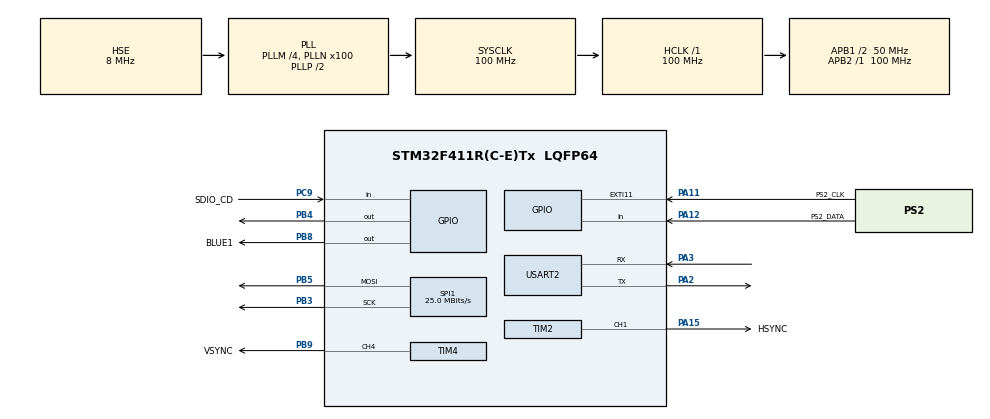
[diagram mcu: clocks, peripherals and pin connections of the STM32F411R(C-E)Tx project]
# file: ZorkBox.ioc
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Dma.Request0=SPI1_TX
Dma.SPI1_TX.0.Direction=DMA_MEMORY_TO_PERIPH
Dma.SPI1_TX.0.FIFOMode=DMA_FIFOMODE_DISABLE
Dma.SPI1_TX.0.Instance=DMA2_Stream2
Dma.SPI1_TX.0.MemDataAlignment=DMA_MDATAALIGN_BYTE
Dma.SPI1_TX.0.MemInc=DMA_MINC_ENABLE
Dma.SPI1_TX.0.Mode=DMA_NORMAL
Dma.SPI1_TX.0.PeriphDataAlignment=DMA_PDATAALIGN_BYTE
Dma.SPI1_TX.0.PeriphInc=DMA_PINC_DISABLE
Dma.SPI1_TX.0.Priority=DMA_PRIORITY_VERY_HIGH
IWDG.Prescaler=IWDG_PRESCALER_256
IWDG.Reload=249
Mcu.Family=STM32F4
Mcu.Name=STM32F411R(C-E)Tx
Mcu.Package=LQFP64
NVIC.DMA2_Stream2_IRQn=true\:5\:0\:true\:false\:true\:false\:true\:true
NVIC.PriorityGroup=NVIC_PRIORITYGROUP_4
NVIC.TIM2_IRQn=true\:0\:0\:false\:false\:true\:true\:true\:true
NVIC.TIM4_IRQn=true\:0\:0\:false\:false\:true\:true\:true\:true
PA11.GPIO_Label=PS2_CLK
PA11.Signal=GPXTI11
PA12.GPIO_Label=PS2_DATA
PA12.Signal=GPIO_Input
PA13.Mode=Serial_Wire
PA13.Signal=SYS_JTMS-SWDIO
PA14.Mode=Serial_Wire
PA14.Signal=SYS_JTCK-SWCLK
PA15.GPIO_Label=HSYNC
PA15.Signal=S_TIM2_CH1_ETR
PA2.Mode=Asynchronous
PA2.Signal=USART2_TX
PA3.Mode=Asynchronous
PA3.Signal=USART2_RX
PB3.Mode=TX_Only_Simplex_Unidirect_Master
PB3.Signal=SPI1_SCK
PB4.Signal=GPIO_Output
PB5.Mode=TX_Only_Simplex_Unidirect_Master
PB5.Signal=SPI1_MOSI
PB8.GPIO_Label=BLUE1
PB8.GPIO_Speed=GPIO_SPEED_FREQ_VERY_HIGH
PB8.Signal=GPIO_Output
PB9.GPIO_Label=VSYNC
PB9.Signal=S_TIM4_CH4
PC9.GPIO_Label=SDIO_CD
PC9.Signal=GPIO_Input
PH0\ -\ OSC_IN.Mode=HSE-External-Oscillator
PH0\ -\ OSC_IN.Signal=RCC_OSC_IN
PH1\ -\ OSC_OUT.Mode=HSE-External-Oscillator
PH1\ -\ OSC_OUT.Signal=RCC_OSC_OUT
ProjectManager.HeapSize=0x200
ProjectManager.StackSize=0x400
ProjectManager.TargetToolchain=STM32CubeIDE
RCC.48MHZClocksFreq_Value=40000000
RCC.AHBFreq_Value=100000000
RCC.APB1CLKDivider=RCC_HCLK_DIV2
RCC.APB1Freq_Value=50000000
RCC.APB1TimFreq_Value=100000000
RCC.APB2Freq_Value=100000000
RCC.APB2TimFreq_Value=100000000
RCC.CortexFreq_Value=100000000
RCC.HCLKFreq_Value=100000000
RCC.HSE_VALUE=8000000
RCC.HSI_VALUE=16000000
RCC.LSE_VALUE=32768
RCC.PLLM=4
RCC.PLLN=100
RCC.PLLQ=5
RCC.PLLSourceVirtual=RCC_PLLSOURCE_HSE
RCC.SYSCLKFreq_VALUE=100000000
RCC.SYSCLKSource=RCC_SYSCLKSOURCE_PLLCLK
RCC.VCOOutputFreq_Value=200000000
SH.S_TIM2_CH1_ETR.0=TIM2_CH1,PWM Generation1 CH1
SH.S_TIM4_CH4.0=TIM4_CH4,PWM Generation4 CH4
SPI1.BaudRatePrescaler=SPI_BAUDRATEPRESCALER_4
SPI1.CalculateBaudRate=25.0 MBits/s
SPI1.DataSize=SPI_DATASIZE_8BIT
SPI1.Direction=SPI_DIRECTION_2LINES
SPI1.Mode=SPI_MODE_MASTER
SPI1.VirtualType=VM_MASTER
TIM2.AutoReloadPreload=TIM_AUTORELOAD_PRELOAD_DISABLE
TIM2.Channel-Output\ Compare2\ No\ Output=TIM_CHANNEL_2
TIM2.Channel-PWM\ Generation1\ CH1=TIM_CHANNEL_1
TIM2.OCPolarity_1=TIM_OCPOLARITY_LOW
TIM2.Period=3199
TIM2.Pulse-Output\ Compare2\ No\ Output=450
TIM2.Pulse-PWM\ Generation1\ CH1=384
TIM2.TIM_MasterOutputTrigger=TIM_TRGO_UPDATE
TIM4.AutoReloadPreload=TIM_AUTORELOAD_PRELOAD_DISABLE
TIM4.Channel-Output\ Compare3\ No\ Output=TIM_CHANNEL_3
TIM4.Channel-PWM\ Generation4\ CH4=TIM_CHANNEL_4
TIM4.OCPolarity_4=TIM_OCPOLARITY_LOW
TIM4.Period=524
TIM4.Pulse-Output\ Compare3\ No\ Output=35
TIM4.Pulse-PWM\ Generation4\ CH4=2
USART2.VirtualMode=VM_ASYNC
VP_IWDG_VS_IWDG.Mode=IWDG_Activate
VP_TIM2_VS_no_output2.Mode=Output Compare2 No Output
VP_TIM4_VS_ClockSourceITR.Mode=TriggerSource_ITR1
VP_TIM4_VS_ControllerModeClock.Mode=Clock Mode
VP_TIM4_VS_no_output3.Mode=Output Compare3 No Output
board=custom

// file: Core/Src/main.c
/* USER CODE BEGIN Header */
/**
  ******************************************************************************
  * @file           : main.c
  * @brief          : Main program body
  ******************************************************************************
  * @attention
  *
  * Copyright (c) 2026 STMicroelectronics.
  * All rights reserved.
  *
  * This software is licensed under terms that can be found in the LICENSE file
  * in the root directory of this software component.
  * If no LICENSE file comes with this software, it is provided AS-IS.
  *
  ******************************************************************************
  */
/* USER CODE END Header */
#include "main.h"

/* USER CODE BEGIN Includes */
#include <stdio.h>
#include <stdint.h>
#include <errno.h>
#include <sys/unistd.h> // STDOUT_FILENO, STDERR_FILENO
#include "ztypes.h"
#include "vga.h"
#include "ps2.h"
/* USER CODE END Includes */

IWDG_HandleTypeDef hiwdg;

SPI_HandleTypeDef hspi1;
DMA_HandleTypeDef hdma_spi1_tx;

TIM_HandleTypeDef htim2;
TIM_HandleTypeDef htim4;

UART_HandleTypeDef huart2;

void SystemClock_Config(void);
static void MX_GPIO_Init(void);
static void MX_DMA_Init(void);
static void MX_USART2_UART_Init(void);
static void MX_TIM2_Init(void);
static void MX_TIM4_Init(void);
static void MX_SPI1_Init(void);
static void MX_IWDG_Init(void);

int main(void)
{

  /* MCU Configuration--------------------------------------------------------*/

  /* Reset of all peripherals, Initializes the Flash interface and the Systick. */
  HAL_Init();

  /* Configure the system clock */
  SystemClock_Config();

  /* Initialize all configured peripherals */
  MX_GPIO_Init();
  MX_DMA_Init();
  MX_USART2_UART_Init();
  MX_TIM2_Init();
  MX_TIM4_Init();
  MX_SPI1_Init();
  MX_IWDG_Init();
  /* USER CODE BEGIN 2 */
  HAL_NVIC_SetPriority(TIM2_IRQn, 0, 0);  // HSYNC (highest)
  HAL_NVIC_SetPriority(DMA2_Stream2_IRQn, 0, 1); // SPI DMA
  HAL_NVIC_SetPriority(TIM4_IRQn, 1, 0);  // VSYNC
  HAL_TIM_PWM_Start(&htim2, TIM_CHANNEL_1);   // HSYNC
  HAL_TIM_PWM_Start(&htim4, TIM_CHANNEL_4);   // VSYNC
  HAL_TIM_OC_Start_IT(&htim2, TIM_CHANNEL_2);
  HAL_TIM_OC_Start_IT(&htim4, TIM_CHANNEL_3);

  /* Infinite loop */
  printf("Start\r\n");

  open_story();
  configure(V1, V8);
  initialize_screen();
  z_restart();
  vga_init();
  /* USER CODE END 2 */

  /* Infinite loop */
  /* USER CODE BEGIN WHILE */
  while (1)
  {
	zork_handle();
	vga_handle();
	HAL_IWDG_Refresh(&hiwdg);
    /* USER CODE END WHILE */

  }
}

void SystemClock_Config(void)
{
  RCC_OscInitTypeDef RCC_OscInitStruct = {0};
  RCC_ClkInitTypeDef RCC_ClkInitStruct = {0};

  /** Configure the main internal regulator output voltage
  */
  __HAL_RCC_PWR_CLK_ENABLE();
  __HAL_PWR_VOLTAGESCALING_CONFIG(PWR_REGULATOR_VOLTAGE_SCALE1);

  /** Initializes the RCC Oscillators according to the specified parameters
  * in the RCC_OscInitTypeDef structure.
  */
  RCC_OscInitStruct.OscillatorType = RCC_OSCILLATORTYPE_LSI|RCC_OSCILLATORTYPE_HSE;
  RCC_OscInitStruct.HSEState = RCC_HSE_ON;
  RCC_OscInitStruct.LSIState = RCC_LSI_ON;
  RCC_OscInitStruct.PLL.PLLState = RCC_PLL_ON;
  RCC_OscInitStruct.PLL.PLLSource = RCC_PLLSOURCE_HSE;
  RCC_OscInitStruct.PLL.PLLM = 4;
  RCC_OscInitStruct.PLL.PLLN = 100;
  RCC_OscInitStruct.PLL.PLLP = RCC_PLLP_DIV2;
  RCC_OscInitStruct.PLL.PLLQ = 5;
  if (HAL_RCC_OscConfig(&RCC_OscInitStruct) != HAL_OK)
  {
    Error_Handler();
  }

  /** Initializes the CPU, AHB and APB buses clocks
  */
  RCC_ClkInitStruct.ClockType = RCC_CLOCKTYPE_HCLK|RCC_CLOCKTYPE_SYSCLK
                              |RCC_CLOCKTYPE_PCLK1|RCC_CLOCKTYPE_PCLK2;
  RCC_ClkInitStruct.SYSCLKSource = RCC_SYSCLKSOURCE_PLLCLK;
  RCC_ClkInitStruct.AHBCLKDivider = RCC_SYSCLK_DIV1;
  RCC_ClkInitStruct.APB1CLKDivider = RCC_HCLK_DIV2;
  RCC_ClkInitStruct.APB2CLKDivider = RCC_HCLK_DIV1;

  if (HAL_RCC_ClockConfig(&RCC_ClkInitStruct, FLASH_LATENCY_3) != HAL_OK)
  {
    Error_Handler();
  }
}

static void MX_IWDG_Init(void)
{

  hiwdg.Instance = IWDG;
  hiwdg.Init.Prescaler = IWDG_PRESCALER_256;
  hiwdg.Init.Reload = 249;
  if (HAL_IWDG_Init(&hiwdg) != HAL_OK)
  {
    Error_Handler();
  }

}

static void MX_SPI1_Init(void)
{

  /* SPI1 parameter configuration*/
  hspi1.Instance = SPI1;
  hspi1.Init.Mode = SPI_MODE_MASTER;
  hspi1.Init.Direction = SPI_DIRECTION_2LINES;
  hspi1.Init.DataSize = SPI_DATASIZE_8BIT;
  hspi1.Init.CLKPolarity = SPI_POLARITY_LOW;
  hspi1.Init.CLKPhase = SPI_PHASE_1EDGE;
  hspi1.Init.NSS = SPI_NSS_SOFT;
  hspi1.Init.BaudRatePrescaler = SPI_BAUDRATEPRESCALER_4;
  hspi1.Init.FirstBit = SPI_FIRSTBIT_MSB;
  hspi1.Init.TIMode = SPI_TIMODE_DISABLE;
  hspi1.Init.CRCCalculation = SPI_CRCCALCULATION_DISABLE;
  hspi1.Init.CRCPolynomial = 10;
  if (HAL_SPI_Init(&hspi1) != HAL_OK)
  {
    Error_Handler();
  }

}

static void MX_TIM2_Init(void)
{

  TIM_MasterConfigTypeDef sMasterConfig = {0};
  TIM_OC_InitTypeDef sConfigOC = {0};

  htim2.Instance = TIM2;
  htim2.Init.Prescaler = 0;
  htim2.Init.CounterMode = TIM_COUNTERMODE_UP;
  htim2.Init.Period = 3199;
  htim2.Init.ClockDivision = TIM_CLOCKDIVISION_DIV1;
  htim2.Init.AutoReloadPreload = TIM_AUTORELOAD_PRELOAD_DISABLE;
  if (HAL_TIM_PWM_Init(&htim2) != HAL_OK)
  {
    Error_Handler();
  }
  if (HAL_TIM_OC_Init(&htim2) != HAL_OK)
  {
    Error_Handler();
  }
  sMasterConfig.MasterOutputTrigger = TIM_TRGO_UPDATE;
  sMasterConfig.MasterSlaveMode = TIM_MASTERSLAVEMODE_DISABLE;
  if (HAL_TIMEx_MasterConfigSynchronization(&htim2, &sMasterConfig) != HAL_OK)
  {
    Error_Handler();
  }
  sConfigOC.OCMode = TIM_OCMODE_PWM1;
  sConfigOC.Pulse = 384;
  sConfigOC.OCPolarity = TIM_OCPOLARITY_LOW;
  sConfigOC.OCFastMode = TIM_OCFAST_DISABLE;
  if (HAL_TIM_PWM_ConfigChannel(&htim2, &sConfigOC, TIM_CHANNEL_1) != HAL_OK)
  {
    Error_Handler();
  }
  sConfigOC.OCMode = TIM_OCMODE_TIMING;
  sConfigOC.Pulse = 450;
  sConfigOC.OCPolarity = TIM_OCPOLARITY_HIGH;
  if (HAL_TIM_OC_ConfigChannel(&htim2, &sConfigOC, TIM_CHANNEL_2) != HAL_OK)
  {
    Error_Handler();
  }
  HAL_TIM_MspPostInit(&htim2);

}

static void MX_TIM4_Init(void)
{

  TIM_SlaveConfigTypeDef sSlaveConfig = {0};
  TIM_MasterConfigTypeDef sMasterConfig = {0};
  TIM_OC_InitTypeDef sConfigOC = {0};

  htim4.Instance = TIM4;
  htim4.Init.Prescaler = 0;
  htim4.Init.CounterMode = TIM_COUNTERMODE_UP;
  htim4.Init.Period = 524;
  htim4.Init.ClockDivision = TIM_CLOCKDIVISION_DIV1;
  htim4.Init.AutoReloadPreload = TIM_AUTORELOAD_PRELOAD_DISABLE;
  if (HAL_TIM_Base_Init(&htim4) != HAL_OK)
  {
    Error_Handler();
  }
  if (HAL_TIM_OC_Init(&htim4) != HAL_OK)
  {
    Error_Handler();
  }
  if (HAL_TIM_PWM_Init(&htim4) != HAL_OK)
  {
    Error_Handler();
  }
  sSlaveConfig.SlaveMode = TIM_SLAVEMODE_EXTERNAL1;
  sSlaveConfig.InputTrigger = TIM_TS_ITR1;
  if (HAL_TIM_SlaveConfigSynchro(&htim4, &sSlaveConfig) != HAL_OK)
  {
    Error_Handler();
  }
  sMasterConfig.MasterOutputTrigger = TIM_TRGO_RESET;
  sMasterConfig.MasterSlaveMode = TIM_MASTERSLAVEMODE_DISABLE;
  if (HAL_TIMEx_MasterConfigSynchronization(&htim4, &sMasterConfig) != HAL_OK)
  {
    Error_Handler();
  }
  sConfigOC.OCMode = TIM_OCMODE_TIMING;
  sConfigOC.Pulse = 35;
  sConfigOC.OCPolarity = TIM_OCPOLARITY_HIGH;
  sConfigOC.OCFastMode = TIM_OCFAST_DISABLE;
  if (HAL_TIM_OC_ConfigChannel(&htim4, &sConfigOC, TIM_CHANNEL_3) != HAL_OK)
  {
    Error_Handler();
  }
  sConfigOC.OCMode = TIM_OCMODE_PWM1;
  sConfigOC.Pulse = 2;
  sConfigOC.OCPolarity = TIM_OCPOLARITY_LOW;
  if (HAL_TIM_PWM_ConfigChannel(&htim4, &sConfigOC, TIM_CHANNEL_4) != HAL_OK)
  {
    Error_Handler();
  }
  HAL_TIM_MspPostInit(&htim4);

}

static void MX_USART2_UART_Init(void)
{

  huart2.Instance = USART2;
  huart2.Init.BaudRate = 115200;
  huart2.Init.WordLength = UART_WORDLENGTH_8B;
  huart2.Init.StopBits = UART_STOPBITS_1;
  huart2.Init.Parity = UART_PARITY_NONE;
  huart2.Init.Mode = UART_MODE_TX_RX;
  huart2.Init.HwFlowCtl = UART_HWCONTROL_NONE;
  huart2.Init.OverSampling = UART_OVERSAMPLING_16;
  if (HAL_UART_Init(&huart2) != HAL_OK)
  {
    Error_Handler();
  }

}

static void MX_DMA_Init(void)
{

  /* DMA controller clock enable */
  __HAL_RCC_DMA2_CLK_ENABLE();

  /* DMA interrupt init */
  /* DMA2_Stream2_IRQn interrupt configuration */
  HAL_NVIC_SetPriority(DMA2_Stream2_IRQn, 5, 0);
  HAL_NVIC_EnableIRQ(DMA2_Stream2_IRQn);

}

static void MX_GPIO_Init(void)
{
  GPIO_InitTypeDef GPIO_InitStruct = {0};

  /* GPIO Ports Clock Enable */
  __HAL_RCC_GPIOH_CLK_ENABLE();
  __HAL_RCC_GPIOA_CLK_ENABLE();
  __HAL_RCC_GPIOC_CLK_ENABLE();
  __HAL_RCC_GPIOB_CLK_ENABLE();

  /*Configure GPIO pin Output Level */
  HAL_GPIO_WritePin(GPIOB, GPIO_PIN_4|BLUE1_Pin, GPIO_PIN_RESET);

  /*Configure GPIO pin : SDIO_CD_Pin */
  GPIO_InitStruct.Pin = SDIO_CD_Pin;
  GPIO_InitStruct.Mode = GPIO_MODE_INPUT;
  GPIO_InitStruct.Pull = GPIO_NOPULL;
  HAL_GPIO_Init(SDIO_CD_GPIO_Port, &GPIO_InitStruct);

  /*Configure GPIO pin : PS2_CLK_Pin */
  GPIO_InitStruct.Pin = PS2_CLK_Pin;
  GPIO_InitStruct.Mode = GPIO_MODE_IT_RISING;
  GPIO_InitStruct.Pull = GPIO_NOPULL;
  HAL_GPIO_Init(PS2_CLK_GPIO_Port, &GPIO_InitStruct);

  /*Configure GPIO pin : PS2_DATA_Pin */
  GPIO_InitStruct.Pin = PS2_DATA_Pin;
  GPIO_InitStruct.Mode = GPIO_MODE_INPUT;
  GPIO_InitStruct.Pull = GPIO_NOPULL;
  HAL_GPIO_Init(PS2_DATA_GPIO_Port, &GPIO_InitStruct);

  /*Configure GPIO pin : PB4 */
  GPIO_InitStruct.Pin = GPIO_PIN_4;
  GPIO_InitStruct.Mode = GPIO_MODE_OUTPUT_PP;
  GPIO_InitStruct.Pull = GPIO_NOPULL;
  GPIO_InitStruct.Speed = GPIO_SPEED_FREQ_LOW;
  HAL_GPIO_Init(GPIOB, &GPIO_InitStruct);

  /*Configure GPIO pin : BLUE1_Pin */
  GPIO_InitStruct.Pin = BLUE1_Pin;
  GPIO_InitStruct.Mode = GPIO_MODE_OUTPUT_PP;
  GPIO_InitStruct.Pull = GPIO_NOPULL;
  GPIO_InitStruct.Speed = GPIO_SPEED_FREQ_VERY_HIGH;
  HAL_GPIO_Init(BLUE1_GPIO_Port, &GPIO_InitStruct);

}

/* USER CODE BEGIN 4 */

int _write(int file, char *data, int len)
{
   if ((file != STDOUT_FILENO) && (file != STDERR_FILENO))
   {
      errno = EBADF;
      return -1;
   }

   HAL_StatusTypeDef status = HAL_UART_Transmit(&huart2, (uint8_t*)data, len, 1000);

   // return # of bytes written - as best we can tell
   return (status == HAL_OK ? len : 0);
}

/* USER CODE END 4 */

void Error_Handler(void)
{
  __disable_irq();
  while (1)
  {
  }
}
